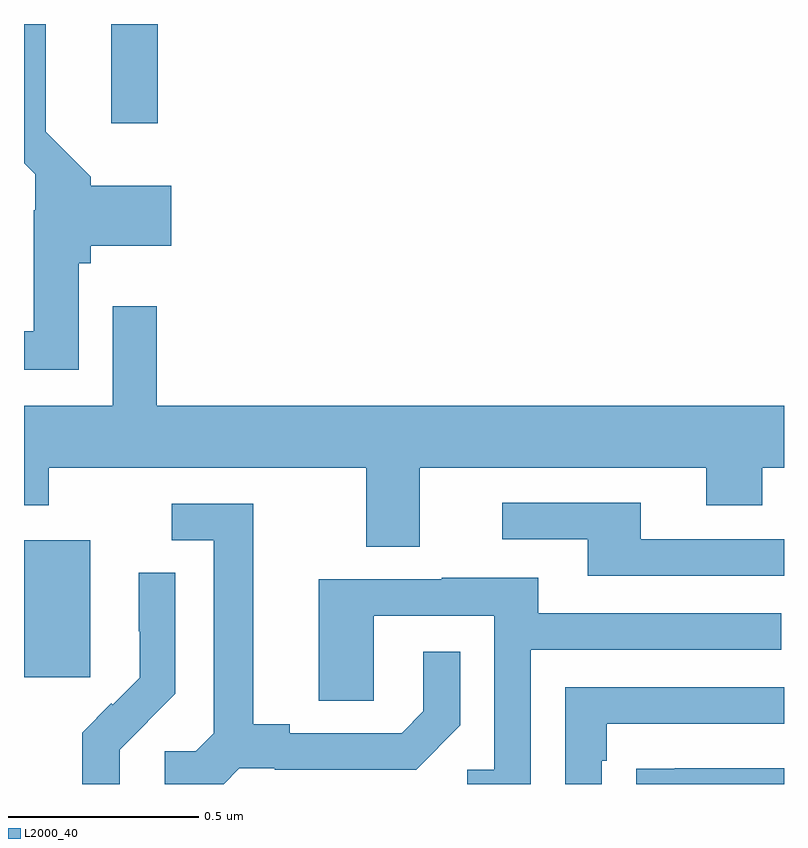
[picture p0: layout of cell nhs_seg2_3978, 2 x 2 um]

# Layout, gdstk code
import gdstk
lib = gdstk.Library(unit=1e-6, precision=1e-09)
def R(c, l, rs):  # rectangles x0, y0, x1, y1
    for r in rs: c.add(gdstk.rectangle(r[:2], r[2:], *l))
def P(c, l, *ps):  # polygons
    for p in ps: c.add(gdstk.Polygon(p, *l))
L2000_40 = (2000, 40)

nhs_seg2_3978 = lib.new_cell('nhs_seg2_3978')
R(nhs_seg2_3978, L2000_40, [(160,651.081,160.174,651.442), (160.229,652.539,160.352,652.8)])
P(nhs_seg2_3978, L2000_40, [(160.144,652.17),(160.175,652.17),(160.175,652.217),(160.387,652.217),(160.387,652.375),(160.175,652.375),(160.175,652.398),(160.057,652.516),(160.057,652.8),(160,652.8),(160,652.433),(160.029,652.404),(160.029,652.31),(160.025,652.31),(160.025,651.991),(160,651.991),(160,651.89),(160.144,651.89)],
  [(161.041,651.632),(161.795,651.632),(161.795,651.533),(161.943,651.533),(161.943,651.632),(162,651.632),(162,651.796),(160.349,651.796),(160.349,652.057),(160.233,652.057),(160.233,651.796),(160,651.796),(160,651.533),(160.065,651.533),(160.065,651.632),(160.901,651.632),(160.901,651.424),(161.041,651.424)],
  [(162,651.444),(161.623,651.444),(161.623,651.54),(161.259,651.54),(161.259,651.444),(161.483,651.444),(161.483,651.348),(162,651.348)],
  [(160.566,650.841),(160.66,650.841),(160.66,650.838),(161.032,650.838),(161.148,650.954),(161.148,651.148),(161.051,651.148),(161.051,650.991),(160.994,650.934),(160.699,650.934),(160.699,650.957),(160.603,650.957),(160.603,651.537),(160.389,651.537),(160.389,651.441),(160.499,651.441),(160.499,650.933),(160.452,650.886),(160.371,650.886),(160.371,650.8),(160.525,650.8)],
  [(160.252,650.89),(160.326,650.964),(160.325,650.965),(160.398,651.038),(160.398,651.356),(160.302,651.356),(160.302,651.202),(160.304,651.202),(160.304,651.08),(160.233,651.009),(160.23,651.012),(160.153,650.935),(160.153,650.8),(160.252,650.8)],
  [(161.334,651.153),(161.993,651.153),(161.993,651.249),(161.353,651.249),(161.353,651.343),(161.099,651.343),(161.099,651.339),(160.775,651.339),(160.775,651.019),(160.92,651.019),(160.92,651.243),(161.238,651.243),(161.238,650.838),(161.166,650.838),(161.166,650.8),(161.334,650.8)],
  [(161.52,650.861),(161.533,650.861),(161.533,650.958),(162,650.958),(162,651.054),(161.424,651.054),(161.424,650.8),(161.52,650.8)],
  [(162,650.841),(161.713,650.841),(161.713,650.84),(161.611,650.84),(161.611,650.8),(162,650.8)])

lib.write_gds('nhs_seg2_3978.gds')
